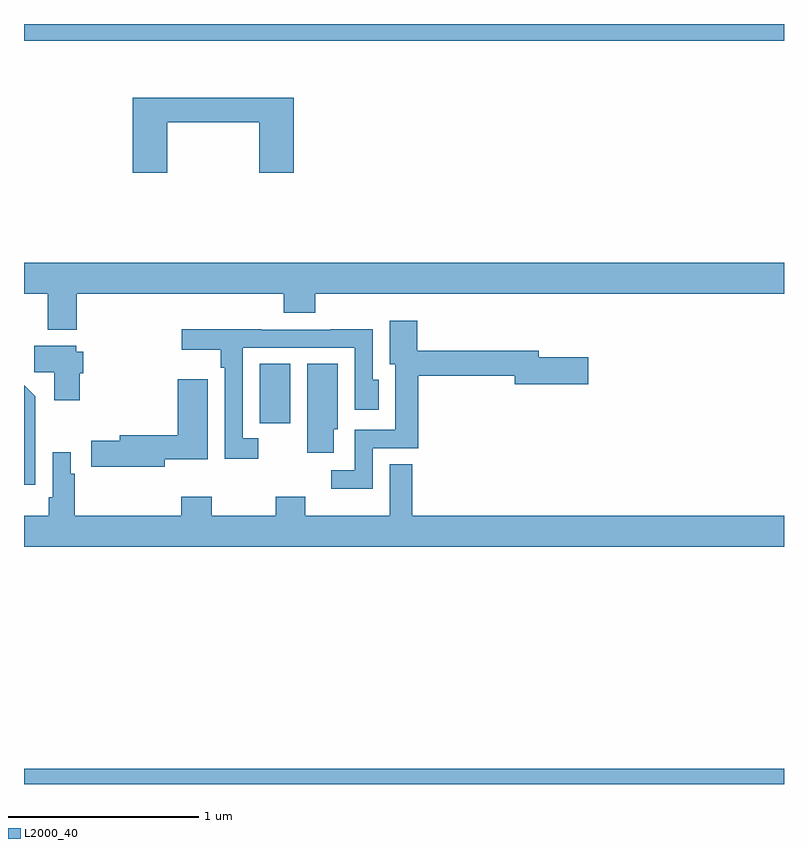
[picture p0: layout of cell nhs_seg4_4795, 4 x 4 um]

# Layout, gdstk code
import gdstk
lib = gdstk.Library(unit=1e-6, precision=1e-09)
def R(c, l, rs):  # rectangles x0, y0, x1, y1
    for r in rs: c.add(gdstk.rectangle(r[:2], r[2:], *l))
def P(c, l, *ps):  # polygons
    for p in ps: c.add(gdstk.Polygon(p, *l))
L2000_40 = (2000, 40)

nhs_seg4_4795 = lib.new_cell('nhs_seg4_4795')
R(nhs_seg4_4795, L2000_40, [(369,800.9,373,800.98), (370.241,802.8,370.402,803.111), (369,804.812,373,804.9)])
P(nhs_seg4_4795, L2000_40, [(369.755,804.382),(370.238,804.382),(370.238,804.117),(370.421,804.117),(370.421,804.511),(369.572,804.511),(369.572,804.117),(369.755,804.117)],
  [(369.278,803.48),(370.367,803.48),(370.367,803.381),(370.532,803.381),(370.532,803.48),(373,803.48),(373,803.644),(369,803.644),(369,803.48),(369.125,803.48),(369.125,803.291),(369.278,803.291)],
  [(370.836,802.668),(371.074,802.668),(371.074,803.05),(371.582,803.05),(371.582,803.003),(371.971,803.003),(371.971,803.145),(371.71,803.145),(371.71,803.179),(371.069,803.179),(371.069,803.338),(370.925,803.338),(370.925,803.109),(370.955,803.109),(370.955,802.764),(370.74,802.764),(370.74,802.551),(370.617,802.551),(370.617,802.454),(370.836,802.454)],
  [(370.234,802.719),(370.152,802.719),(370.152,803.196),(370.74,803.196),(370.74,802.869),(370.867,802.869),(370.867,803.028),(370.836,803.028),(370.836,803.294),(370.615,803.294),(370.615,803.292),(370.249,803.292),(370.249,803.294),(369.831,803.294),(369.831,803.186),(370.036,803.186),(370.036,803.09),(370.056,803.09),(370.056,802.611),(370.234,802.611)],
  [(369.293,803.061),(369.311,803.061),(369.311,803.175),(369.276,803.175),(369.276,803.206),(369.053,803.206),(369.053,803.068),(369.158,803.068),(369.158,802.92),(369.293,802.92)],
  [(370.63,802.767),(370.651,802.767),(370.651,803.111),(370.49,803.111),(370.49,802.644),(370.63,802.644)],
  [(369.742,802.61),(369.967,802.61),(369.967,803.029),(369.809,803.029),(369.809,802.736),(369.503,802.736),(369.503,802.706),(369.354,802.706),(369.354,802.571),(369.742,802.571)],
  [(369.058,802.942),(369,803),(369,802.476),(369.058,802.476)],
  [(373,802.312),(371.044,802.312),(371.044,802.583),(370.925,802.583),(370.925,802.312),(370.479,802.312),(370.479,802.411),(370.324,802.411),(370.324,802.312),(369.987,802.312),(369.987,802.411),(369.827,802.411),(369.827,802.312),(369.266,802.312),(369.266,802.532),(369.246,802.532),(369.246,802.645),(369.15,802.645),(369.15,802.408),(369.13,802.408),(369.13,802.312),(369,802.312),(369,802.148),(373,802.148)])

lib.write_gds('nhs_seg4_4795.gds')
